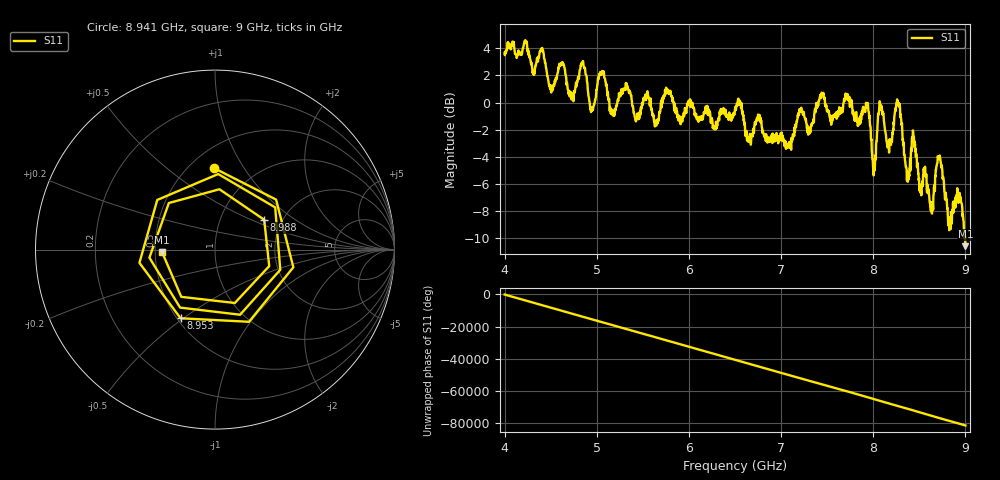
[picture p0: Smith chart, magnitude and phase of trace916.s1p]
! Created with skrf 1.8.0 (http://scikit-rf.org).
# Hz S RI R 50.0
!freq ReS11 ImS11
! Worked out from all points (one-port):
!   1601 points, 4 GHz to 9 GHz, reference 50 ohm
!   lowest |S11| = -10.6 dB at 9 GHz (marker M1), VSWR 1.84, Z = 27.2 - j0.81 ohm
!   |S11| at or under -10 dB: 8.990702 GHz to 8.991894 GHz (1.193 MHz wide, 0.0133 % of centre); 8.997742 GHz to end of sweep
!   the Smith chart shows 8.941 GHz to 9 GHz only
!   S11 on the Smith chart (normalised r, x): 8.941 GHz: 0.65, +0.74; 8.953 GHz: 0.52, -0.49; 8.988 GHz: 1.62, +0.60; 9 GHz: 0.54, -0.02
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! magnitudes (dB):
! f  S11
! 4 GHz  3.7
! 4.403 GHz  3.9
! 4.506 GHz  0.7
! 4.625 GHz  3.0
! 4.725 GHz  0.2
! 4.85 GHz  3.1
! 4.947 GHz  -0.6
! 5.053 GHz  2.1
! 5.166 GHz  -0.6
! 5.25 GHz  0.5
! 5.875 GHz  -1.1
! 6.5 GHz  -0.5
! 7.125 GHz  -2.7
! 7.75 GHz  0.2
! 7.938 GHz  -0.1
! 8.009 GHz  -4.7
! 8.072 GHz  0.1
! 8.172 GHz  -3.7
! 8.266 GHz  0.1
! 8.375 GHz  -5.8
! 8.434 GHz  -2.2
! 8.628 GHz  -7.3
! 8.709 GHz  -4.0
! 8.828 GHz  -8.8
! 8.941 GHz  -6.8
! 8.953 GHz  -7.4
! 8.988 GHz  -9.9
! 9 GHz  -10.6
